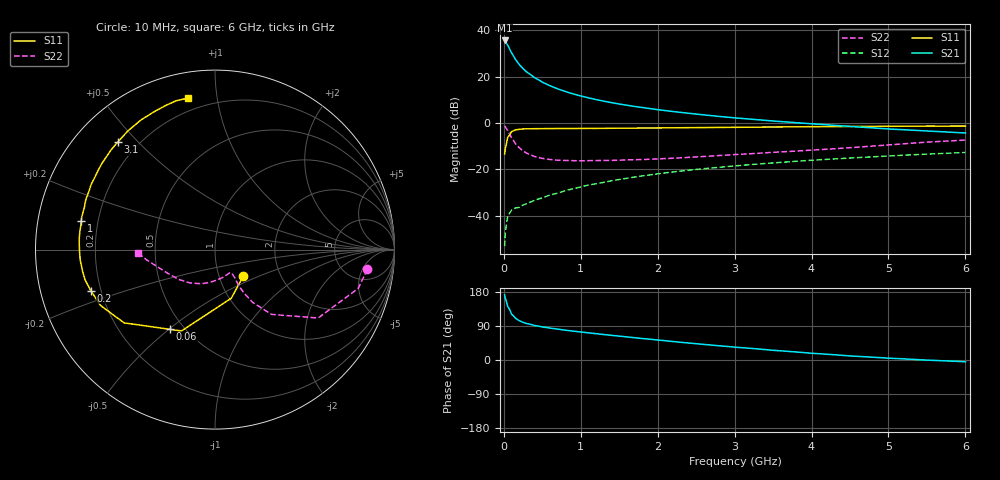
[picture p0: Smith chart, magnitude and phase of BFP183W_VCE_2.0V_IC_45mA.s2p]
! Infineon Technologies  Discrete & RF Semiconductors
! BFP183W
! VCE =  2.0 V,  IC =  45 mA
! Common Emitter S-Parameters:  Jan 2017
# GHz  S  MA  R  50
!  f  S11  S21  S12  S22
! GHz  MAG  ANG  MAG  ANG  MAG  ANG  MAG  ANG
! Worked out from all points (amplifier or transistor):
!   77 points, 10 MHz to 6 GHz, reference 50 ohm
!   highest |S21| = 35.6 dB at 10 MHz (marker M1)
!   |S21| within 3 dB of that: start of sweep to 65.08 MHz
!   unconditionally stable (mu >= 1): 413.5 MHz to 5.147 GHz
!   at 130 MHz: K = 0.50, MSG = 32.8 dB, |S12| = -37.0 dB
!   at 2.2 GHz: K = 1.20, MAG = 10.3 dB, |S12| = -21.1 dB
!   at 6 GHz: K = 0.97, MSG = 4.2 dB, |S12| = -12.7 dB
!   S11 on the Smith chart (normalised r, x): 10 MHz: 1.31, -0.40; 60 MHz: 0.42, -0.50; 200 MHz: 0.16, -0.16; 1 GHz: 0.14, +0.10; 3.1 GHz: 0.13, +0.44; 6 GHz: 0.13, +0.83
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0.01  0.2156 -42.6  60.26 171.8  0.0022 85.0  0.856 -7.4
0.02  0.2857 -71.5  58.01 162.6  0.0043 77.6  0.8264 -15.2
0.05  0.4902 -112.4  47.77 141.4  0.0095 56.8  0.6894 -33.6
0.06  0.5101 -119.4  44.35 138.5  0.0102 54.7  0.6444 -35.8
0.1  0.6505 -141.1  32.47 120.9  0.0132 48.6  0.4789 -48.9
0.15  0.7097 -154.0  23.61 110.4  0.0147 42.1  0.3595 -54.6
0.2  0.7288 -161.7  18.27 103.8  0.0151 43.8  0.292 -56.2
0.25  0.7431 -166.8  14.86 99.3  0.017 47.1  0.2494 -56.6
0.3  0.7474 -170.4  12.47 96.1  0.0182 47.4  0.2214 -56.1
0.4  0.7534 -175.8  9.482 91.0  0.0215 53.1  0.189 -54.9
0.5  0.755 -179.5  7.6 87.3  0.0243 55.4  0.1725 -54.6
0.6  0.7571 177.4  6.358 84.2  0.028 58.5  0.163 -54.5
0.7  0.7591 174.8  5.451 81.5  0.0306 61.1  0.157 -54.8
0.8  0.7595 172.3  4.778 78.6  0.0348 64.0  0.1558 -55.9
1  0.7622 168.0  3.832 73.9  0.0417 65.4  0.1524 -59.1
1.1  0.7644 165.9  3.485 71.7  0.0459 65.8  0.1538 -60.9
1.5  0.772 158.5  2.564 63.0  0.0604 66.3  0.1571 -69.9
2.1  0.7834 147.6  1.85 50.8  0.0838 64.7  0.1706 -87.3
3.1  0.8077 132.0  1.251 32.4  0.1222 59.3  0.212 -117.0
4.1  0.8327 118.5  0.936 16.5  0.1605 52.4  0.2656 -142.9
5.1  0.8499 108.0  0.728 3.9  0.1977 45.0  0.3456 -165.4
6  0.8574 100.2  0.608 -4.7  0.2312 37.9  0.4276 -177.6
